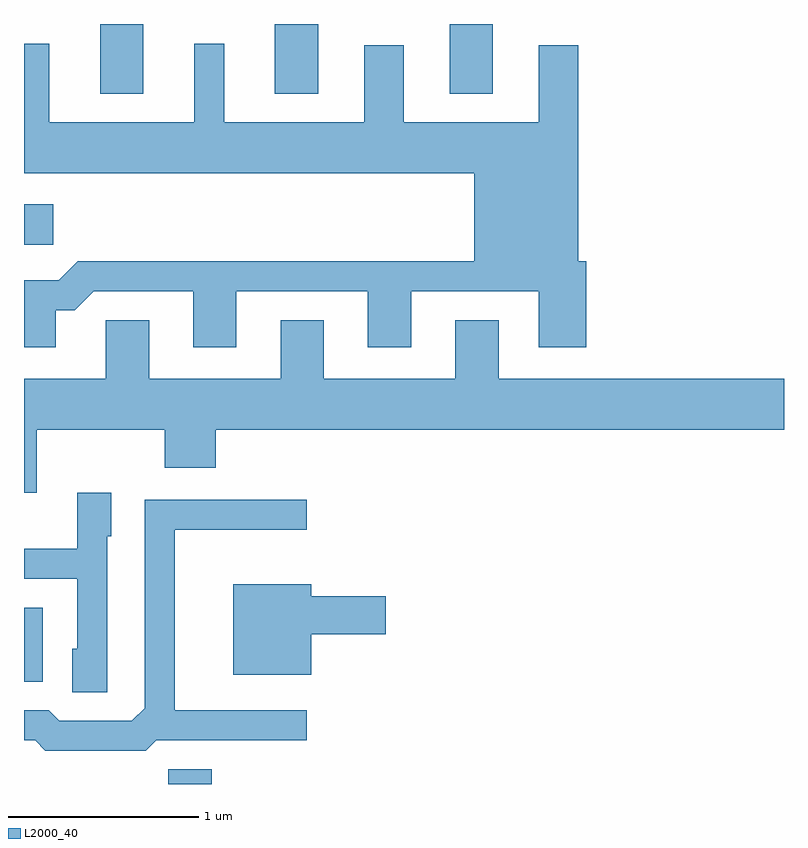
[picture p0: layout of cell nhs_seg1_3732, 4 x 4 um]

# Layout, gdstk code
import gdstk
lib = gdstk.Library(unit=1e-6, precision=1e-09)
def R(c, l, rs):  # rectangles x0, y0, x1, y1
    for r in rs: c.add(gdstk.rectangle(r[:2], r[2:], *l))
def A(c, l, x, y, w, h, nx, ny, dx, dy):  # array of equal rectangles
    R(c, l, [(x+i*dx, y+j*dy, x+i*dx+w, y+j*dy+h) for i in range(nx) for j in range(ny)])
def P(c, l, *ps):  # polygons
    for p in ps: c.add(gdstk.Polygon(p, *l))
L2000_40 = (2000, 40)

nhs_seg1_3732 = lib.new_cell('nhs_seg1_3732')
A(nhs_seg1_3732, L2000_40, 298.011, 901.346, 0.228, 0.366, 3, 1, 0.92, 0)
R(nhs_seg1_3732, L2000_40, [(298.371,897.712,298.599,897.789), (297.611,898.251,297.709,898.639), (297.611,900.551,297.764,900.764)])
P(nhs_seg1_3732, L2000_40, [(297.779,900.206),(297.877,900.206),(297.977,900.306),(298.501,900.306),(298.501,900.011),(298.729,900.011),(298.729,900.306),(299.421,900.306),(299.421,900.011),(299.649,900.011),(299.649,900.306),(300.321,900.306),(300.321,900.011),(300.569,900.011),(300.569,900.464),(300.529,900.464),(300.529,901.599),(300.321,901.599),(300.321,901.194),(299.609,901.194),(299.609,901.599),(299.401,901.599),(299.401,901.194),(298.664,901.194),(298.664,901.608),(298.506,901.608),(298.506,901.194),(297.744,901.194),(297.744,901.608),(297.611,901.608),(297.611,900.926),(299.981,900.926),(299.981,900.464),(297.894,900.464),(297.794,900.364),(297.611,900.364),(297.611,900.011),(297.779,900.011)],
  [(297.679,899.576),(298.351,899.576),(298.351,899.376),(298.619,899.376),(298.619,899.576),(301.611,899.576),(301.611,899.844),(300.109,899.844),(300.109,900.154),(299.881,900.154),(299.881,899.844),(299.189,899.844),(299.189,900.154),(298.961,900.154),(298.961,899.844),(298.269,899.844),(298.269,900.154),(298.041,900.154),(298.041,899.844),(297.611,899.844),(297.611,899.246),(297.679,899.246)],
  [(298.049,899.016),(298.069,899.016),(298.069,899.244),(297.891,899.244),(297.891,898.949),(297.611,898.949),(297.611,898.791),(297.891,898.791),(297.891,898.424),(297.866,898.424),(297.866,898.196),(298.049,898.196)],
  [(298.307,897.941),(299.098,897.941),(299.098,898.099),(298.404,898.099),(298.404,899.051),(299.098,899.051),(299.098,899.209),(298.246,899.209),(298.246,898.112),(298.179,898.044),(297.797,898.044),(297.742,898.099),(297.611,898.099),(297.611,897.941),(297.669,897.941),(297.724,897.886),(298.252,897.886)],
  [(299.124,898.501),(299.514,898.501),(299.514,898.699),(299.124,898.699),(299.124,898.764),(298.711,898.764),(298.711,898.286),(299.124,898.286)])

lib.write_gds('nhs_seg1_3732.gds')
